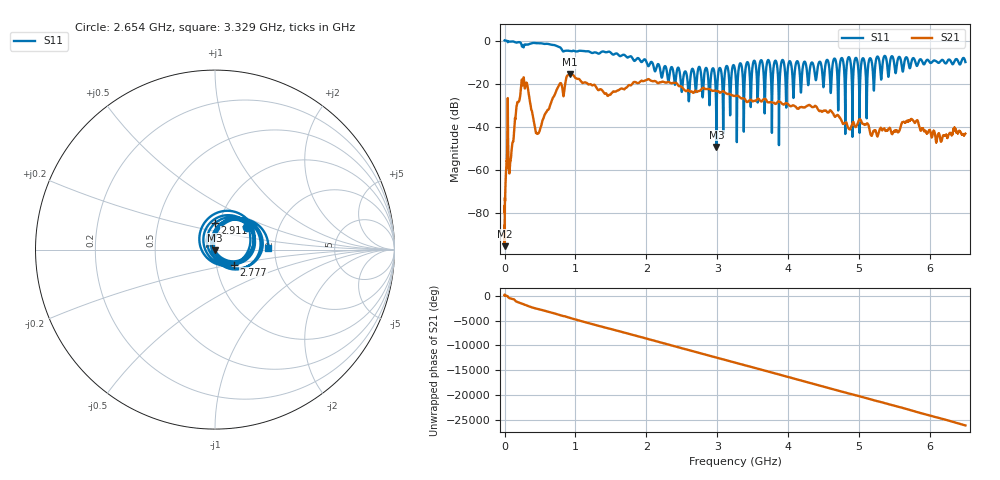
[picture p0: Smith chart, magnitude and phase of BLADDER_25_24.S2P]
!Keysight Technologies,E5063A,MY54503115,A.05.08
!Date: Sun Feb 04 18:57:26 2024
!Data & Calibration Information:
!Freq	S11:NONE(--)	S21:NONE(--)	S12:NONE(--)	S22:NONE(--)
# Hz S dB R 50
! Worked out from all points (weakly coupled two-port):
!   10001 points, 100 kHz to 6.5 GHz, reference 50 ohm
!   highest |S21| = -15.61 dB at 926.3 MHz (marker M1); lowest = -95.3 dB at 1.4 MHz (marker M2)
!   lowest |S11| = -49.3 dB at 2.987 GHz (marker M3), VSWR 1.01, Z = 49.8 - j0.298 ohm
!   |S11| at or under -10 dB: 2.077 GHz to 3.423 GHz (1.346 GHz wide, 48.9 % of centre); 4.139 GHz to 4.223 GHz (84 MHz wide, 2.01 % of centre); 4.24 GHz to 4.437 GHz (197.3 MHz wide, 4.55 % of centre) (the widest 3 of 31)
!   S12 and S22 are empty: the file has one direction only
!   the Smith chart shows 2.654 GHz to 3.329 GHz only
!   S11 on the Smith chart (normalised r, x): 2.654 GHz: 1.38, +0.37; 2.777 GHz: 1.22, -0.21; 2.911 GHz: 0.96, +0.29; 3.329 GHz: 1.84, +0.03
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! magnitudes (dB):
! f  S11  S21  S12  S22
! 100 kHz  0.0  -85.8  -  -
! 1.4 MHz  0.0  -95.3  -  -
! 39.75 MHz  -0.2  -44.7  -  -
! 88.5 MHz  -0.5  -54.9  -  -
! 251 MHz  -2.4  -20.5  -  -
! 466.8 MHz  -1.2  -43.2  -  -
! 926.3 MHz  -4.8  -15.6  -  -
! 1.084 GHz  -4.8  -19.0  -  -
! 2.167 GHz  -10.9  -19.8  -  -
! 2.654 GHz  -13.2  -24.1  -  -
! 2.777 GHz  -17.4  -22.6  -  -
! 2.911 GHz  -16.7  -22.9  -  -
! 2.987 GHz  -49.3  -23.3  -  -
! 3.25 GHz  -13.6  -25.7  -  -
! 3.329 GHz  -10.6  -26.6  -  -
! 3.374 GHz  -39.9  -26.8  -  -
! 3.424 GHz  -10.0  -28.4  -  -
! 3.869 GHz  -40.5  -28.1  -  -
! 3.92 GHz  -9.0  -29.4  -  -
! 4.334 GHz  -10.1  -30.8  -  -
! 5.417 GHz  -16.5  -40.8  -  -
! 6.5 GHz  -10.0  -43.1  -  -
